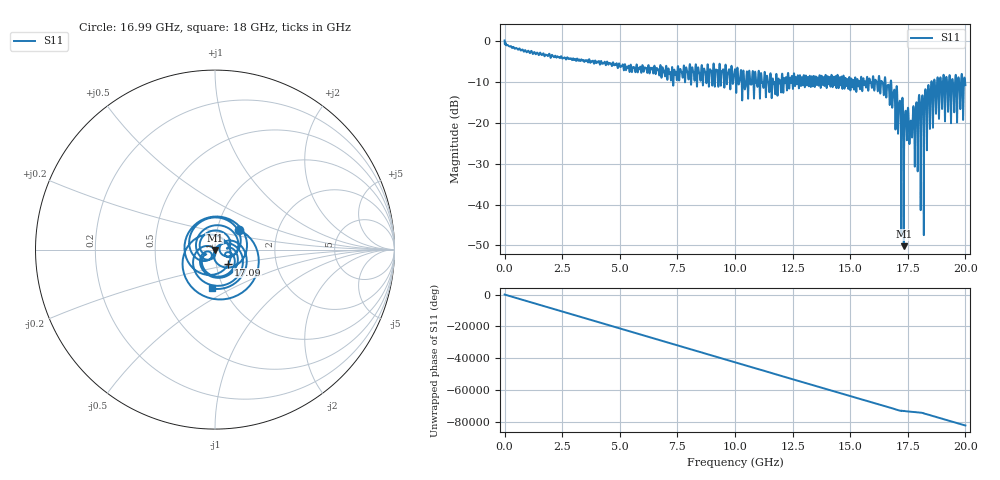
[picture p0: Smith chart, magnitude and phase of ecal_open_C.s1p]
! MS46122B
! 2250307/22442219
! 6/14/2025 10:16:58 AM
! C:\USERS\SPARKY\DOCUMENTS\VNA_DATA\JUNE14_2025\295K\ECAL_OPEN_C.S1P
! CHANNEL.1
! TR.MEASUREMENT
! RAW.DATA
# GHZ S RI R 50.0
! FREQ.GHZ  S11RE  S11IM
!; PortSelection: Port_1
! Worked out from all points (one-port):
!   10001 points, 1 MHz to 20 GHz, reference 50 ohm
!   lowest |S11| = -50.2 dB at 17.33 GHz (marker M1), VSWR 1.01, Z = 49.8 - j0.266 ohm
!   |S11| at or under -10 dB: 16.38 GHz to 16.49 GHz (112 MHz wide, 0.682 % of centre); 16.53 GHz to 16.76 GHz (222.2 MHz wide, 1.34 % of centre); 16.78 GHz to 18.52 GHz (1.739 GHz wide, 9.85 % of centre) (the widest 3 of 96)
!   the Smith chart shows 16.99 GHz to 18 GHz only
!   S11 on the Smith chart (normalised r, x): 16.99 GHz: 1.28, +0.29; 17.09 GHz: 1.14, -0.19; 18 GHz: 0.88, -0.40
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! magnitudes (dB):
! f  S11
! 1 MHz  0.2
! 2.501 GHz  -4.2
! 5.001 GHz  -5.9
! 7.501 GHz  -7.3
! 10 GHz  -6.8
! 12.5 GHz  -10.7
! 15 GHz  -11.7
! 16.44 GHz  -11.5
! 16.99 GHz  -15.2
! 17.09 GHz  -19.1
! 17.27 GHz  -13.9
! 17.33 GHz  -50.2
! 17.5 GHz  -16.5
! 17.86 GHz  -15.1
! 17.93 GHz  -30.4
! 18 GHz  -13.3
! 18.06 GHz  -38.7
! 18.13 GHz  -13.2
! 18.19 GHz  -33.0
! 18.27 GHz  -11.8
! 18.33 GHz  -26.0
! 18.4 GHz  -10.7
! 18.46 GHz  -21.3
! 18.52 GHz  -9.8
! 18.72 GHz  -17.7
! 19.25 GHz  -17.1
! 19.45 GHz  -9.4
! 20 GHz  -10.7
